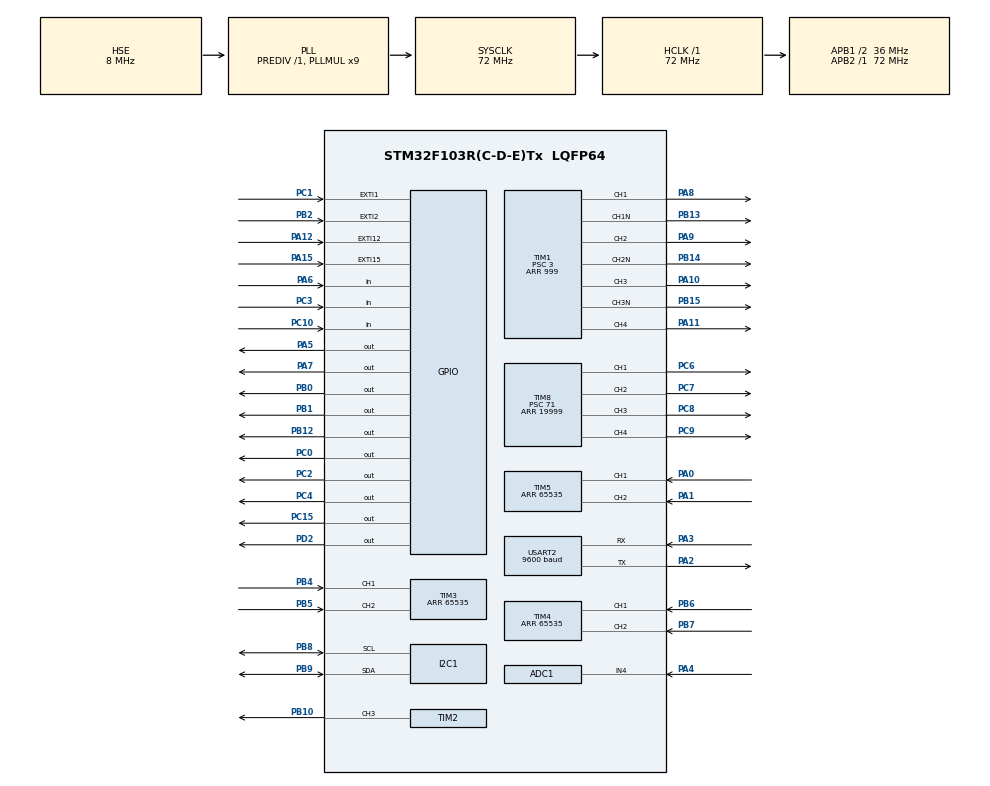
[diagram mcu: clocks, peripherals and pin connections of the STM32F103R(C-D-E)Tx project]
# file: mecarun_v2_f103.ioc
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ADC1.Channel-0\#ChannelRegularConversion=ADC_CHANNEL_4
ADC1.ContinuousConvMode=DISABLE
ADC1.DataAlign=ADC_DATAALIGN_RIGHT
ADC1.DiscontinuousConvMode=DISABLE
ADC1.EnableAnalogWatchDog=false
ADC1.EnableRegularConversion=ENABLE
ADC1.ExternalTrigConv=ADC_SOFTWARE_START
ADC1.InjNumberOfConversion=0
ADC1.NbrOfConversion=1
ADC1.NbrOfConversionFlag=1
ADC1.Rank-0\#ChannelRegularConversion=1
ADC1.SamplingTime-0\#ChannelRegularConversion=ADC_SAMPLETIME_1CYCLE_5
ADC1.ScanConvMode=ADC_SCAN_DISABLE
ADC1.master=1
Dma.Request0=USART2_RX
Dma.Request1=USART2_TX
Dma.USART2_RX.0.Direction=DMA_PERIPH_TO_MEMORY
Dma.USART2_RX.0.Instance=DMA1_Channel6
Dma.USART2_RX.0.MemDataAlignment=DMA_MDATAALIGN_BYTE
Dma.USART2_RX.0.MemInc=DMA_MINC_ENABLE
Dma.USART2_RX.0.Mode=DMA_NORMAL
Dma.USART2_RX.0.PeriphDataAlignment=DMA_PDATAALIGN_BYTE
Dma.USART2_RX.0.PeriphInc=DMA_PINC_DISABLE
Dma.USART2_RX.0.Priority=DMA_PRIORITY_LOW
Dma.USART2_TX.1.Direction=DMA_MEMORY_TO_PERIPH
Dma.USART2_TX.1.Instance=DMA1_Channel7
Dma.USART2_TX.1.MemDataAlignment=DMA_MDATAALIGN_BYTE
Dma.USART2_TX.1.MemInc=DMA_MINC_ENABLE
Dma.USART2_TX.1.Mode=DMA_NORMAL
Dma.USART2_TX.1.PeriphDataAlignment=DMA_PDATAALIGN_BYTE
Dma.USART2_TX.1.PeriphInc=DMA_PINC_DISABLE
Dma.USART2_TX.1.Priority=DMA_PRIORITY_LOW
I2C1.I2C_Mode=I2C_Fast
IWDG.Prescaler=IWDG_PRESCALER_256
Mcu.Family=STM32F1
Mcu.Name=STM32F103R(C-D-E)Tx
Mcu.Package=LQFP64
NVIC.ADC1_2_IRQn=true\:6\:0\:true\:false\:true\:true\:true
NVIC.DMA1_Channel6_IRQn=true\:0\:0\:false\:false\:true\:false\:true
NVIC.DMA1_Channel7_IRQn=true\:0\:0\:false\:false\:true\:false\:true
NVIC.EXTI15_10_IRQn=true\:5\:0\:true\:false\:false\:true\:true
NVIC.EXTI1_IRQn=true\:1\:0\:true\:false\:false\:true\:true
NVIC.EXTI2_IRQn=true\:0\:0\:false\:false\:false\:true\:true
NVIC.I2C1_EV_IRQn=true\:3\:0\:true\:false\:true\:true\:true
NVIC.PriorityGroup=NVIC_PRIORITYGROUP_4
PA0-WKUP.Signal=S_TIM5_CH1
PA1.Signal=S_TIM5_CH2
PA10.GPIO_Speed=GPIO_SPEED_FREQ_HIGH
PA10.Signal=S_TIM1_CH3
PA11.GPIO_Speed=GPIO_SPEED_FREQ_HIGH
PA11.Signal=S_TIM1_CH4
PA12.GPIO_PuPd=GPIO_PULLUP
PA12.Signal=GPXTI12
PA13.Mode=Serial_Wire
PA13.Signal=SYS_JTMS-SWDIO
PA14.Mode=Serial_Wire
PA14.Signal=SYS_JTCK-SWCLK
PA15.GPIO_ModeDefaultEXTI=GPIO_MODE_IT_RISING_FALLING
PA15.Signal=GPXTI15
PA2.Mode=Asynchronous
PA2.Signal=USART2_TX
PA3.GPIO_PuPd=GPIO_PULLUP
PA3.Mode=Asynchronous
PA3.Signal=USART2_RX
PA4.Signal=ADCx_IN4
PA5.GPIO_Speed=GPIO_SPEED_FREQ_HIGH
PA5.PinState=GPIO_PIN_SET
PA5.Signal=GPIO_Output
PA6.Signal=GPIO_Input
PA7.GPIO_Speed=GPIO_SPEED_FREQ_HIGH
PA7.PinState=GPIO_PIN_SET
PA7.Signal=GPIO_Output
PA8.GPIO_Speed=GPIO_SPEED_FREQ_HIGH
PA8.Signal=S_TIM1_CH1
PA9.GPIO_Speed=GPIO_SPEED_FREQ_HIGH
PA9.Signal=S_TIM1_CH2
PB0.Signal=GPIO_Output
PB1.Signal=GPIO_Output
PB10.Signal=S_TIM2_CH3
PB12.PinState=GPIO_PIN_RESET
PB12.Signal=GPIO_Output
PB13.GPIO_Speed=GPIO_SPEED_FREQ_HIGH
PB13.Mode=PWM Generation1 CH1 CH1N
PB13.Signal=TIM1_CH1N
PB14.GPIO_Speed=GPIO_SPEED_FREQ_HIGH
PB14.Mode=PWM Generation2 CH2 CH2N
PB14.Signal=TIM1_CH2N
PB15.GPIO_Speed=GPIO_SPEED_FREQ_HIGH
PB15.Mode=PWM Generation3 CH3 CH3N
PB15.Signal=TIM1_CH3N
PB2.GPIO_ModeDefaultEXTI=GPIO_MODE_IT_RISING_FALLING
PB2.Signal=GPXTI2
PB4.Signal=S_TIM3_CH1
PB5.Signal=S_TIM3_CH2
PB6.Signal=S_TIM4_CH1
PB7.Signal=S_TIM4_CH2
PB8.Mode=I2C
PB8.Signal=I2C1_SCL
PB9.Mode=I2C
PB9.Signal=I2C1_SDA
PC0.Signal=GPIO_Output
PC1.GPIO_ModeDefaultEXTI=GPIO_MODE_IT_RISING_FALLING
PC1.Signal=GPXTI1
PC10.GPIO_PuPd=GPIO_PULLUP
PC10.Signal=GPIO_Input
PC15-OSC32_OUT.GPIO_Speed=GPIO_SPEED_FREQ_HIGH
PC15-OSC32_OUT.Signal=GPIO_Output
PC2.PinState=GPIO_PIN_SET
PC2.Signal=GPIO_Output
PC3.GPIO_PuPd=GPIO_PULLUP
PC3.Signal=GPIO_Input
PC4.GPIO_Speed=GPIO_SPEED_FREQ_HIGH
PC4.Signal=GPIO_Output
PC6.Signal=S_TIM8_CH1
PC7.Signal=S_TIM8_CH2
PC8.Signal=S_TIM8_CH3
PC9.Signal=S_TIM8_CH4
PD0-OSC_IN.Mode=HSE-External-Oscillator
PD0-OSC_IN.Signal=RCC_OSC_IN
PD1-OSC_OUT.Mode=HSE-External-Oscillator
PD1-OSC_OUT.Signal=RCC_OSC_OUT
PD2.Signal=GPIO_Output
ProjectManager.HeapSize=0x200
ProjectManager.StackSize=0x400
ProjectManager.TargetToolchain=MDK-ARM V5
RCC.ADCPresc=RCC_ADCPCLK2_DIV6
RCC.AHBFreq_Value=72000000
RCC.APB1CLKDivider=RCC_HCLK_DIV2
RCC.APB1Freq_Value=36000000
RCC.APB1TimFreq_Value=72000000
RCC.APB2Freq_Value=72000000
RCC.APB2TimFreq_Value=72000000
RCC.HCLKFreq_Value=72000000
RCC.PLLMUL=RCC_PLL_MUL9
RCC.PLLSourceVirtual=RCC_PLLSOURCE_HSE
RCC.SYSCLKFreq_VALUE=72000000
RCC.SYSCLKSource=RCC_SYSCLKSOURCE_PLLCLK
RCC.USBFreq_Value=72000000
SH.ADCx_IN4.0=ADC1_IN4,IN4
SH.S_TIM1_CH1.0=TIM1_CH1,PWM Generation1 CH1 CH1N
SH.S_TIM1_CH2.0=TIM1_CH2,PWM Generation2 CH2 CH2N
SH.S_TIM1_CH3.0=TIM1_CH3,PWM Generation3 CH3 CH3N
SH.S_TIM1_CH4.0=TIM1_CH4,PWM Generation4 CH4
SH.S_TIM2_CH3.0=TIM2_CH3,PWM Generation3 CH3
SH.S_TIM3_CH1.0=TIM3_CH1,Encoder_Interface
SH.S_TIM3_CH2.0=TIM3_CH2,Encoder_Interface
SH.S_TIM4_CH1.0=TIM4_CH1,Encoder_Interface
SH.S_TIM4_CH2.0=TIM4_CH2,Encoder_Interface
SH.S_TIM5_CH1.0=TIM5_CH1,Encoder_Interface
SH.S_TIM5_CH2.0=TIM5_CH2,Encoder_Interface
SH.S_TIM8_CH1.0=TIM8_CH1,PWM Generation1 CH1
SH.S_TIM8_CH2.0=TIM8_CH2,PWM Generation2 CH2
SH.S_TIM8_CH3.0=TIM8_CH3,PWM Generation3 CH3
SH.S_TIM8_CH4.0=TIM8_CH4,PWM Generation4 CH4
TIM1.AutoReloadPreload=TIM_AUTORELOAD_PRELOAD_ENABLE
TIM1.Channel-PWM\ Generation1\ CH1\ CH1N=TIM_CHANNEL_1
TIM1.Channel-PWM\ Generation2\ CH2\ CH2N=TIM_CHANNEL_2
TIM1.Channel-PWM\ Generation3\ CH3\ CH3N=TIM_CHANNEL_3
TIM1.Channel-PWM\ Generation4\ CH4=TIM_CHANNEL_4
TIM1.ClockDivision=TIM_CLOCKDIVISION_DIV1
TIM1.OCIdleState_1=TIM_OCIDLESTATE_SET
TIM1.OCIdleState_2=TIM_OCIDLESTATE_SET
TIM1.OCIdleState_3=TIM_OCIDLESTATE_SET
TIM1.OCIdleState_4=TIM_OCIDLESTATE_SET
TIM1.OCNIdleState_1=TIM_OCNIDLESTATE_SET
TIM1.OCNIdleState_2=TIM_OCNIDLESTATE_SET
TIM1.OCNIdleState_3=TIM_OCNIDLESTATE_SET
TIM1.OCNPolarity_1=TIM_OCNPOLARITY_LOW
TIM1.OCNPolarity_2=TIM_OCNPOLARITY_LOW
TIM1.OCNPolarity_3=TIM_OCNPOLARITY_LOW
TIM1.OCPolarity_1=TIM_OCPOLARITY_HIGH
TIM1.OCPolarity_3=TIM_OCPOLARITY_HIGH
TIM1.Period=999
TIM1.Prescaler=3
TIM2.AutoReloadPreload=TIM_AUTORELOAD_PRELOAD_ENABLE
TIM2.Channel-PWM\ Generation3\ CH3=TIM_CHANNEL_3
TIM2.ClockDivision=TIM_CLOCKDIVISION_DIV1
TIM2.Period=19999
TIM2.Prescaler=71
TIM2.Pulse-PWM\ Generation3\ CH3=1500
TIM3.EncoderMode=TIM_ENCODERMODE_TI12
TIM3.Period=65535
TIM4.EncoderMode=TIM_ENCODERMODE_TI12
TIM4.Period=65535
TIM5.EncoderMode=TIM_ENCODERMODE_TI12
TIM5.Period=65535
TIM6.Period=65535
TIM6.Prescaler=71
TIM8.AutoReloadPreload=TIM_AUTORELOAD_PRELOAD_ENABLE
TIM8.Channel-PWM\ Generation1\ CH1=TIM_CHANNEL_1
TIM8.Channel-PWM\ Generation2\ CH2=TIM_CHANNEL_2
TIM8.Channel-PWM\ Generation3\ CH3=TIM_CHANNEL_3
TIM8.Channel-PWM\ Generation4\ CH4=TIM_CHANNEL_4
TIM8.ClockDivision=TIM_CLOCKDIVISION_DIV1
TIM8.Period=19999
TIM8.Prescaler=71
TIM8.Pulse-PWM\ Generation1\ CH1=1500
TIM8.Pulse-PWM\ Generation2\ CH2=1500
TIM8.Pulse-PWM\ Generation3\ CH3=1500
TIM8.Pulse-PWM\ Generation4\ CH4=1500
USART2.BaudRate=9600
USART2.VirtualMode=VM_ASYNC
VP_IWDG_VS_IWDG.Mode=IWDG_Activate
VP_TIM1_VS_ClockSourceINT.Mode=Internal
VP_TIM2_VS_ClockSourceINT.Mode=Internal
VP_TIM6_VS_ClockSourceINT.Mode=Enable_Timer
VP_TIM8_VS_ClockSourceINT.Mode=Internal
board=custom

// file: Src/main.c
/* USER CODE BEGIN Header */
/**
  ******************************************************************************
  * @file           : main.c
  * @brief          : Main program body
  ******************************************************************************
  ** This notice applies to any and all portions of this file
  * that are not between comment pairs USER CODE BEGIN and
  * USER CODE END. Other portions of this file, whether
  * inserted by the user or by software development tools
  * are owned by their respective copyright owners.
  *
  * COPYRIGHT(c) 2019 STMicroelectronics
  *
  * Redistribution and use in source and binary forms, with or without modification,
  * are permitted provided that the following conditions are met:
  *   1. Redistributions of source code must retain the above copyright notice,
  *      this list of conditions and the following disclaimer.
  *   2. Redistributions in binary form must reproduce the above copyright notice,
  *      this list of conditions and the following disclaimer in the documentation
  *      and/or other materials provided with the distribution.
  *   3. Neither the name of STMicroelectronics nor the names of its contributors
  *      may be used to endorse or promote products derived from this software
  *      without specific prior written permission.
  *
  * THIS SOFTWARE IS PROVIDED BY THE COPYRIGHT HOLDERS AND CONTRIBUTORS "AS IS"
  * AND ANY EXPRESS OR IMPLIED WARRANTIES, INCLUDING, BUT NOT LIMITED TO, THE
  * IMPLIED WARRANTIES OF MERCHANTABILITY AND FITNESS FOR A PARTICULAR PURPOSE ARE
  * DISCLAIMED. IN NO EVENT SHALL THE COPYRIGHT HOLDER OR CONTRIBUTORS BE LIABLE
  * FOR ANY DIRECT, INDIRECT, INCIDENTAL, SPECIAL, EXEMPLARY, OR CONSEQUENTIAL
  * DAMAGES (INCLUDING, BUT NOT LIMITED TO, PROCUREMENT OF SUBSTITUTE GOODS OR
  * SERVICES; LOSS OF USE, DATA, OR PROFITS; OR BUSINESS INTERRUPTION) HOWEVER
  * CAUSED AND ON ANY THEORY OF LIABILITY, WHETHER IN CONTRACT, STRICT LIABILITY,
  * OR TORT (INCLUDING NEGLIGENCE OR OTHERWISE) ARISING IN ANY WAY OUT OF THE USE
  * OF THIS SOFTWARE, EVEN IF ADVISED OF THE POSSIBILITY OF SUCH DAMAGE.
  *
  ******************************************************************************
  */
/* USER CODE END Header */

#include "main.h"

/* USER CODE BEGIN Includes */
#include "led.h"
#include "motor.h"
#include "ps2.h"
#include "mecanum.h"
#include "ultrasonic.h"
#include "oled.h"
#include "bluetooth.h"
#include "battery.h"
#include "servo.h"
#include "mpu9250.h"
#include "config.h"
/* USER CODE END Includes */

ADC_HandleTypeDef hadc1;

I2C_HandleTypeDef hi2c1;

IWDG_HandleTypeDef hiwdg;

TIM_HandleTypeDef htim2;
TIM_HandleTypeDef htim3;
TIM_HandleTypeDef htim4;
TIM_HandleTypeDef htim5;
TIM_HandleTypeDef htim6;
TIM_HandleTypeDef htim8;

UART_HandleTypeDef huart2;
DMA_HandleTypeDef hdma_usart2_rx;
DMA_HandleTypeDef hdma_usart2_tx;

/* USER CODE BEGIN PV */
/* Private variables ---------------------------------------------------------*/
/*use global variables for easier online debug*/
mt_ctrltype common_mt_ctrl = {0,0,0,2};
pidtype motors[4]={{0,0,0,0,0},{0,0,0,0,0},{0,0,0,0,0},{0,0,0,0,0}};
speed3axistype speed_xyr={0,0,0,0};
imutype imudat;
uint32_t dist;
uint8_t oled_en = 1;
uint16_t bat_vol;
//uint8_t debugpid = 0;
typedef enum{
	ps2_mode,
	bt_mode,
	test_mode
}ctrlmodetype;
ctrlmodetype ctrlmode = ps2_mode;
/* USER CODE END PV */

void SystemClock_Config(void);
static void MX_GPIO_Init(void);
static void MX_DMA_Init(void);
static void MX_TIM5_Init(void);
static void MX_ADC1_Init(void);
static void MX_TIM1_Init(void);
static void MX_I2C1_Init(void);
static void MX_TIM4_Init(void);
static void MX_TIM3_Init(void);
static void MX_TIM6_Init(void);
static void MX_TIM2_Init(void);
static void MX_TIM8_Init(void);
static void MX_USART2_UART_Init(void);
static void MX_IWDG_Init(void);
/* USER CODE BEGIN PFP */
/* Private function prototypes -----------------------------------------------*/
ctrlmodetype Check_mode(void);
/* USER CODE END PFP */

/* USER CODE BEGIN 0 */

static void uDelay(uint32_t t)
{
	uint32_t i;
	for(i=0;i<t;++i)
		__nop();
}

/*
3 4 10
--- *  test
* * *  ps2
* ---  bt
*/
ctrlmodetype Check_mode(void)
{
	if(GPIO_PIN_RESET == HAL_GPIO_ReadPin(GPIOC,GPIO_PIN_3))
	{
		HAL_GPIO_WritePin(GPIOC,GPIO_PIN_4,GPIO_PIN_SET);
		uDelay(10);
		if(GPIO_PIN_SET == HAL_GPIO_ReadPin(GPIOC,GPIO_PIN_3))
		{
			return test_mode;
		}
	}
	else if(GPIO_PIN_RESET == HAL_GPIO_ReadPin(GPIOC,GPIO_PIN_10))
	{
		HAL_GPIO_WritePin(GPIOC,GPIO_PIN_4,GPIO_PIN_SET);
		uDelay(10);
		if(GPIO_PIN_SET == HAL_GPIO_ReadPin(GPIOC,GPIO_PIN_10))
		{
			return bt_mode;
		}
	}
		return ps2_mode;
}

/* USER CODE END 0 */

int main(void)
{
  /* USER CODE BEGIN 1 */
	/*for display*/
	uint8_t distbuf[]={'D','i','s','t',':','0','0','0','0','0','m','m',0};
	uint8_t volbuf[]={'0','0','.','0','0','V',0};
	/*for test mode*/
	uint32_t test_time = 0;
	uint8_t test_cnt = 0;
	/*to lowwer the oled flash frequency*/
	#define SONAR_PERIOD 71
	#define VOL_PERIOD 101
	uint32_t time_sonar = 35;
	uint32_t time_vol = 45;
  /* USER CODE END 1 */

  /* MCU Configuration--------------------------------------------------------*/

  /* Reset of all peripherals, Initializes the Flash interface and the Systick. */
  HAL_Init();

  /* Configure the system clock */
  SystemClock_Config();

  /* Initialize all configured peripherals */
  MX_GPIO_Init();
  MX_DMA_Init();
  MX_TIM5_Init();
  MX_ADC1_Init();
  MX_TIM1_Init();
  MX_I2C1_Init();
  MX_TIM4_Init();
  MX_TIM3_Init();
  MX_TIM6_Init();
  MX_TIM2_Init();
  MX_TIM8_Init();
  MX_USART2_UART_Init();
  MX_IWDG_Init();
  /* USER CODE BEGIN 2 */

	Set_blink(2,100);//ms
	user_Motor_Init();
	Motor_unlock(&common_mt_ctrl);

	#if PID_EN == 1
	Motor_PID_Enable(&common_mt_ctrl,motors,1.04500008, 0.0900062919, 0);
	#endif

	start_US_daemon();
	user_Servo_Init();

	ctrlmode = Check_mode();

	InitMPU6050();

	if(0 != OLED_Init())
		oled_en = 0;
	if(oled_en != 0)
	{
		OLED_Clear();
		OLED_ShowString(0,0,(uint8_t *)"Welcome!",8);
		switch(ctrlmode)
		{
			case ps2_mode:
				OLED_ShowString(0,6,(uint8_t *)"PS2",8);
			break;
			case bt_mode:
				OLED_ShowString(0,6,(uint8_t *)"BT",8);
			break;
			case test_mode:
				OLED_ShowString(0,6,(uint8_t *)"TEST",8);
			break;
		}
	}

  /* USER CODE END 2 */

  /* Infinite loop */
  while (1)
  {

    /* USER CODE BEGIN 3 */
		Led_task();
		//if(debugpid==0)
		{
				switch(ctrlmode)
			{
				case ps2_mode:
					Ps2_task(&common_mt_ctrl,motors,&speed_xyr);
				break;
				case bt_mode:
					BT_task(&common_mt_ctrl,motors,&speed_xyr);
				break;
				case test_mode:
					if(HAL_GetTick()>test_time)
					{
						//Read_MPU9250_acc(&imudat);
						//Read_MPU9250_gyro(&imudat);
						//Read_MPU9250_mag(&imudat);
						switch(test_cnt)
						{
							case 0:
								speed_xyr.x = 700;
								speed_xyr.y = 0;
								break;
							case 1:
								speed_xyr.x = 0;
								speed_xyr.y = 700;
								break;
							case 2:
								speed_xyr.x = -700;
								speed_xyr.y = 0;
								break;
							case 3:
								speed_xyr.x = 0;
								speed_xyr.y = -700;
								break;
						}
						speed_xyr.cal_speed = 1;
						++test_cnt;
						test_cnt&=0x03;
						test_time=HAL_GetTick()+1000;
					}
				break;
			}
		}
		Msr_dist_task();
		dist = Get_dist();
		if(speed_xyr.cal_speed != 0)
		{

			//if(dist <= 50)
			//	speed_xyr[1]=0;//y
			cal_mecanum(&speed_xyr,&common_mt_ctrl,motors);
			speed_xyr.cal_speed = 0;
		}

		if(oled_en != 0 && HAL_GetTick() >= time_sonar)
		{
			distbuf[5]=dist/10000|0x30;
			distbuf[6]=dist%10000/1000|0x30;
			distbuf[7]=dist%1000/100|0x30;
			distbuf[8]=dist%100/10|0x30;
			distbuf[9]=dist%10|0x30;
			OLED_ShowString(0,2,distbuf,12);
			time_sonar = HAL_GetTick() + SONAR_PERIOD;
		}

		Get_cnt(motors);
		Motor_task(&common_mt_ctrl,motors);

		#if BAT_CHECK == 1
		if(Check_volt(&bat_vol) != 0)
		{
			Motor_lock(&common_mt_ctrl);
			if(oled_en != 0)
			{
				OLED_ShowString(0,5,(uint8_t *)"Low Battery!",8);
			}
			Set_blink(10000,60);//ms
			while(1)
			{
				Led_task();
				#if IWDG_EN == 1
				HAL_IWDG_Refresh(&hiwdg);
				#endif
			}
		}
		#endif

		if(oled_en != 0 && HAL_GetTick() >= time_vol)
			{
				bat_vol=bat_vol*4*330/4095;
				volbuf[0]=bat_vol%10000/1000|0x30;
				volbuf[1]=bat_vol%1000/100|0x30;
				volbuf[3]=bat_vol%100/10|0x30;
				volbuf[4]=bat_vol%10|0x30;
				OLED_ShowString(0,4,volbuf,8);
				time_vol = HAL_GetTick() + VOL_PERIOD;
			}
		#if IWDG_EN == 1
		HAL_IWDG_Refresh(&hiwdg);
		#endif
		//HAL_GPIO_TogglePin(GPIOC,GPIO_PIN_15);//timing debug
  }
  /* USER CODE END 3 */
}

void SystemClock_Config(void)
{
  RCC_OscInitTypeDef RCC_OscInitStruct = {0};
  RCC_ClkInitTypeDef RCC_ClkInitStruct = {0};
  RCC_PeriphCLKInitTypeDef PeriphClkInit = {0};

  /** Initializes the CPU, AHB and APB busses clocks
  */
  RCC_OscInitStruct.OscillatorType = RCC_OSCILLATORTYPE_LSI|RCC_OSCILLATORTYPE_HSE;
  RCC_OscInitStruct.HSEState = RCC_HSE_ON;
  RCC_OscInitStruct.HSEPredivValue = RCC_HSE_PREDIV_DIV1;
  RCC_OscInitStruct.HSIState = RCC_HSI_ON;
  RCC_OscInitStruct.LSIState = RCC_LSI_ON;
  RCC_OscInitStruct.PLL.PLLState = RCC_PLL_ON;
  RCC_OscInitStruct.PLL.PLLSource = RCC_PLLSOURCE_HSE;
  RCC_OscInitStruct.PLL.PLLMUL = RCC_PLL_MUL9;
  if (HAL_RCC_OscConfig(&RCC_OscInitStruct) != HAL_OK)
  {
    Error_Handler();
  }
  /** Initializes the CPU, AHB and APB busses clocks
  */
  RCC_ClkInitStruct.ClockType = RCC_CLOCKTYPE_HCLK|RCC_CLOCKTYPE_SYSCLK
                              |RCC_CLOCKTYPE_PCLK1|RCC_CLOCKTYPE_PCLK2;
  RCC_ClkInitStruct.SYSCLKSource = RCC_SYSCLKSOURCE_PLLCLK;
  RCC_ClkInitStruct.AHBCLKDivider = RCC_SYSCLK_DIV1;
  RCC_ClkInitStruct.APB1CLKDivider = RCC_HCLK_DIV2;
  RCC_ClkInitStruct.APB2CLKDivider = RCC_HCLK_DIV1;

  if (HAL_RCC_ClockConfig(&RCC_ClkInitStruct, FLASH_LATENCY_2) != HAL_OK)
  {
    Error_Handler();
  }
  PeriphClkInit.PeriphClockSelection = RCC_PERIPHCLK_ADC;
  PeriphClkInit.AdcClockSelection = RCC_ADCPCLK2_DIV6;
  if (HAL_RCCEx_PeriphCLKConfig(&PeriphClkInit) != HAL_OK)
  {
    Error_Handler();
  }
}

static void MX_ADC1_Init(void)
{

  ADC_ChannelConfTypeDef sConfig = {0};

  /** Common config
  */
  hadc1.Instance = ADC1;
  hadc1.Init.ScanConvMode = ADC_SCAN_DISABLE;
  hadc1.Init.ContinuousConvMode = DISABLE;
  hadc1.Init.DiscontinuousConvMode = DISABLE;
  hadc1.Init.ExternalTrigConv = ADC_SOFTWARE_START;
  hadc1.Init.DataAlign = ADC_DATAALIGN_RIGHT;
  hadc1.Init.NbrOfConversion = 1;
  if (HAL_ADC_Init(&hadc1) != HAL_OK)
  {
    Error_Handler();
  }
  /** Configure Regular Channel
  */
  sConfig.Channel = ADC_CHANNEL_4;
  sConfig.Rank = ADC_REGULAR_RANK_1;
  sConfig.SamplingTime = ADC_SAMPLETIME_1CYCLE_5;
  if (HAL_ADC_ConfigChannel(&hadc1, &sConfig) != HAL_OK)
  {
    Error_Handler();
  }

}

static void MX_I2C1_Init(void)
{

  hi2c1.Instance = I2C1;
  hi2c1.Init.ClockSpeed = 400000;
  hi2c1.Init.DutyCycle = I2C_DUTYCYCLE_2;
  hi2c1.Init.OwnAddress1 = 0;
  hi2c1.Init.AddressingMode = I2C_ADDRESSINGMODE_7BIT;
  hi2c1.Init.DualAddressMode = I2C_DUALADDRESS_DISABLE;
  hi2c1.Init.OwnAddress2 = 0;
  hi2c1.Init.GeneralCallMode = I2C_GENERALCALL_DISABLE;
  hi2c1.Init.NoStretchMode = I2C_NOSTRETCH_DISABLE;
  if (HAL_I2C_Init(&hi2c1) != HAL_OK)
  {
    Error_Handler();
  }

}

static void MX_IWDG_Init(void)
{

  /* USER CODE BEGIN IWDG_Init 1 */
	#if IWDG_EN == 1
  /* USER CODE END IWDG_Init 1 */
  hiwdg.Instance = IWDG;
  hiwdg.Init.Prescaler = IWDG_PRESCALER_256;
  hiwdg.Init.Reload = 4095;
  if (HAL_IWDG_Init(&hiwdg) != HAL_OK)
  {
    Error_Handler();
  }
  /* USER CODE BEGIN IWDG_Init 2 */
	#endif
  /* USER CODE END IWDG_Init 2 */

}

static void MX_TIM1_Init(void)
{

  LL_TIM_InitTypeDef TIM_InitStruct = {0};
  LL_TIM_OC_InitTypeDef TIM_OC_InitStruct = {0};
  LL_TIM_BDTR_InitTypeDef TIM_BDTRInitStruct = {0};

  LL_GPIO_InitTypeDef GPIO_InitStruct = {0};

  /* Peripheral clock enable */
  LL_APB2_GRP1_EnableClock(LL_APB2_GRP1_PERIPH_TIM1);

  TIM_InitStruct.Prescaler = 3;
  TIM_InitStruct.CounterMode = LL_TIM_COUNTERMODE_UP;
  TIM_InitStruct.Autoreload = 999;
  TIM_InitStruct.ClockDivision = LL_TIM_CLOCKDIVISION_DIV1;
  TIM_InitStruct.RepetitionCounter = 0;
  LL_TIM_Init(TIM1, &TIM_InitStruct);
  LL_TIM_EnableARRPreload(TIM1);
  LL_TIM_SetClockSource(TIM1, LL_TIM_CLOCKSOURCE_INTERNAL);
  LL_TIM_OC_EnablePreload(TIM1, LL_TIM_CHANNEL_CH1);
  TIM_OC_InitStruct.OCMode = LL_TIM_OCMODE_PWM1;
  TIM_OC_InitStruct.OCState = LL_TIM_OCSTATE_DISABLE;
  TIM_OC_InitStruct.OCNState = LL_TIM_OCSTATE_DISABLE;
  TIM_OC_InitStruct.CompareValue = 0;
  TIM_OC_InitStruct.OCPolarity = LL_TIM_OCPOLARITY_HIGH;
  TIM_OC_InitStruct.OCNPolarity = LL_TIM_OCPOLARITY_LOW;
  TIM_OC_InitStruct.OCIdleState = LL_TIM_OCIDLESTATE_HIGH;
  TIM_OC_InitStruct.OCNIdleState = LL_TIM_OCIDLESTATE_HIGH;
  LL_TIM_OC_Init(TIM1, LL_TIM_CHANNEL_CH1, &TIM_OC_InitStruct);
  LL_TIM_OC_DisableFast(TIM1, LL_TIM_CHANNEL_CH1);
  LL_TIM_OC_EnablePreload(TIM1, LL_TIM_CHANNEL_CH2);
  TIM_OC_InitStruct.OCState = LL_TIM_OCSTATE_DISABLE;
  TIM_OC_InitStruct.OCNState = LL_TIM_OCSTATE_DISABLE;
  LL_TIM_OC_Init(TIM1, LL_TIM_CHANNEL_CH2, &TIM_OC_InitStruct);
  LL_TIM_OC_DisableFast(TIM1, LL_TIM_CHANNEL_CH2);
  LL_TIM_OC_EnablePreload(TIM1, LL_TIM_CHANNEL_CH3);
  TIM_OC_InitStruct.OCState = LL_TIM_OCSTATE_DISABLE;
  TIM_OC_InitStruct.OCNState = LL_TIM_OCSTATE_DISABLE;
  LL_TIM_OC_Init(TIM1, LL_TIM_CHANNEL_CH3, &TIM_OC_InitStruct);
  LL_TIM_OC_DisableFast(TIM1, LL_TIM_CHANNEL_CH3);
  LL_TIM_OC_EnablePreload(TIM1, LL_TIM_CHANNEL_CH4);
  TIM_OC_InitStruct.OCState = LL_TIM_OCSTATE_DISABLE;
  TIM_OC_InitStruct.OCNState = LL_TIM_OCSTATE_DISABLE;
  TIM_OC_InitStruct.OCNIdleState = LL_TIM_OCIDLESTATE_LOW;
  LL_TIM_OC_Init(TIM1, LL_TIM_CHANNEL_CH4, &TIM_OC_InitStruct);
  LL_TIM_OC_DisableFast(TIM1, LL_TIM_CHANNEL_CH4);
  LL_TIM_SetTriggerOutput(TIM1, LL_TIM_TRGO_RESET);
  LL_TIM_DisableMasterSlaveMode(TIM1);
  TIM_BDTRInitStruct.OSSRState = LL_TIM_OSSR_DISABLE;
  TIM_BDTRInitStruct.OSSIState = LL_TIM_OSSI_DISABLE;
  TIM_BDTRInitStruct.LockLevel = LL_TIM_LOCKLEVEL_OFF;
  TIM_BDTRInitStruct.DeadTime = 0;
  TIM_BDTRInitStruct.BreakState = LL_TIM_BREAK_DISABLE;
  TIM_BDTRInitStruct.BreakPolarity = LL_TIM_BREAK_POLARITY_HIGH;
  TIM_BDTRInitStruct.AutomaticOutput = LL_TIM_AUTOMATICOUTPUT_DISABLE;
  LL_TIM_BDTR_Init(TIM1, &TIM_BDTRInitStruct);
  LL_APB2_GRP1_EnableClock(LL_APB2_GRP1_PERIPH_GPIOB);
  LL_APB2_GRP1_EnableClock(LL_APB2_GRP1_PERIPH_GPIOA);
  /**TIM1 GPIO Configuration
  PB13   ------> TIM1_CH1N
  PB14   ------> TIM1_CH2N
  PB15   ------> TIM1_CH3N
  PA8   ------> TIM1_CH1
  PA9   ------> TIM1_CH2
  PA10   ------> TIM1_CH3
  PA11   ------> TIM1_CH4
  */
  GPIO_InitStruct.Pin = LL_GPIO_PIN_13|LL_GPIO_PIN_14|LL_GPIO_PIN_15;
  GPIO_InitStruct.Mode = LL_GPIO_MODE_ALTERNATE;
  GPIO_InitStruct.Speed = LL_GPIO_SPEED_FREQ_HIGH;
  GPIO_InitStruct.OutputType = LL_GPIO_OUTPUT_PUSHPULL;
  LL_GPIO_Init(GPIOB, &GPIO_InitStruct);

  GPIO_InitStruct.Pin = LL_GPIO_PIN_8|LL_GPIO_PIN_9|LL_GPIO_PIN_10|LL_GPIO_PIN_11;
  GPIO_InitStruct.Mode = LL_GPIO_MODE_ALTERNATE;
  GPIO_InitStruct.Speed = LL_GPIO_SPEED_FREQ_HIGH;
  GPIO_InitStruct.OutputType = LL_GPIO_OUTPUT_PUSHPULL;
  LL_GPIO_Init(GPIOA, &GPIO_InitStruct);

}

static void MX_TIM2_Init(void)
{

  TIM_ClockConfigTypeDef sClockSourceConfig = {0};
  TIM_MasterConfigTypeDef sMasterConfig = {0};
  TIM_OC_InitTypeDef sConfigOC = {0};

  htim2.Instance = TIM2;
  htim2.Init.Prescaler = 71;
  htim2.Init.CounterMode = TIM_COUNTERMODE_UP;
  htim2.Init.Period = 19999;
  htim2.Init.ClockDivision = TIM_CLOCKDIVISION_DIV1;
  htim2.Init.AutoReloadPreload = TIM_AUTORELOAD_PRELOAD_ENABLE;
  if (HAL_TIM_Base_Init(&htim2) != HAL_OK)
  {
    Error_Handler();
  }
  sClockSourceConfig.ClockSource = TIM_CLOCKSOURCE_INTERNAL;
  if (HAL_TIM_ConfigClockSource(&htim2, &sClockSourceConfig) != HAL_OK)
  {
    Error_Handler();
  }
  if (HAL_TIM_PWM_Init(&htim2) != HAL_OK)
  {
    Error_Handler();
  }
  sMasterConfig.MasterOutputTrigger = TIM_TRGO_RESET;
  sMasterConfig.MasterSlaveMode = TIM_MASTERSLAVEMODE_DISABLE;
  if (HAL_TIMEx_MasterConfigSynchronization(&htim2, &sMasterConfig) != HAL_OK)
  {
    Error_Handler();
  }
  sConfigOC.OCMode = TIM_OCMODE_PWM1;
  sConfigOC.Pulse = 1500;
  sConfigOC.OCPolarity = TIM_OCPOLARITY_HIGH;
  sConfigOC.OCFastMode = TIM_OCFAST_DISABLE;
  if (HAL_TIM_PWM_ConfigChannel(&htim2, &sConfigOC, TIM_CHANNEL_3) != HAL_OK)
  {
    Error_Handler();
  }
  HAL_TIM_MspPostInit(&htim2);

}

static void MX_TIM3_Init(void)
{

  TIM_Encoder_InitTypeDef sConfig = {0};
  TIM_MasterConfigTypeDef sMasterConfig = {0};

  htim3.Instance = TIM3;
  htim3.Init.Prescaler = 0;
  htim3.Init.CounterMode = TIM_COUNTERMODE_UP;
  htim3.Init.Period = 65535;
  htim3.Init.ClockDivision = TIM_CLOCKDIVISION_DIV1;
  htim3.Init.AutoReloadPreload = TIM_AUTORELOAD_PRELOAD_DISABLE;
  sConfig.EncoderMode = TIM_ENCODERMODE_TI12;
  sConfig.IC1Polarity = TIM_ICPOLARITY_RISING;
  sConfig.IC1Selection = TIM_ICSELECTION_DIRECTTI;
  sConfig.IC1Prescaler = TIM_ICPSC_DIV1;
  sConfig.IC1Filter = 0;
  sConfig.IC2Polarity = TIM_ICPOLARITY_RISING;
  sConfig.IC2Selection = TIM_ICSELECTION_DIRECTTI;
  sConfig.IC2Prescaler = TIM_ICPSC_DIV1;
  sConfig.IC2Filter = 0;
  if (HAL_TIM_Encoder_Init(&htim3, &sConfig) != HAL_OK)
  {
    Error_Handler();
  }
  sMasterConfig.MasterOutputTrigger = TIM_TRGO_RESET;
  sMasterConfig.MasterSlaveMode = TIM_MASTERSLAVEMODE_DISABLE;
  if (HAL_TIMEx_MasterConfigSynchronization(&htim3, &sMasterConfig) != HAL_OK)
  {
    Error_Handler();
  }

}

static void MX_TIM4_Init(void)
{

  TIM_Encoder_InitTypeDef sConfig = {0};
  TIM_MasterConfigTypeDef sMasterConfig = {0};

  htim4.Instance = TIM4;
  htim4.Init.Prescaler = 0;
  htim4.Init.CounterMode = TIM_COUNTERMODE_UP;
  htim4.Init.Period = 65535;
  htim4.Init.ClockDivision = TIM_CLOCKDIVISION_DIV1;
  htim4.Init.AutoReloadPreload = TIM_AUTORELOAD_PRELOAD_DISABLE;
  sConfig.EncoderMode = TIM_ENCODERMODE_TI12;
  sConfig.IC1Polarity = TIM_ICPOLARITY_RISING;
  sConfig.IC1Selection = TIM_ICSELECTION_DIRECTTI;
  sConfig.IC1Prescaler = TIM_ICPSC_DIV1;
  sConfig.IC1Filter = 0;
  sConfig.IC2Polarity = TIM_ICPOLARITY_RISING;
  sConfig.IC2Selection = TIM_ICSELECTION_DIRECTTI;
  sConfig.IC2Prescaler = TIM_ICPSC_DIV1;
  sConfig.IC2Filter = 0;
  if (HAL_TIM_Encoder_Init(&htim4, &sConfig) != HAL_OK)
  {
    Error_Handler();
  }
  sMasterConfig.MasterOutputTrigger = TIM_TRGO_RESET;
  sMasterConfig.MasterSlaveMode = TIM_MASTERSLAVEMODE_DISABLE;
  if (HAL_TIMEx_MasterConfigSynchronization(&htim4, &sMasterConfig) != HAL_OK)
  {
    Error_Handler();
  }

}

static void MX_TIM5_Init(void)
{

  TIM_Encoder_InitTypeDef sConfig = {0};
  TIM_MasterConfigTypeDef sMasterConfig = {0};

  htim5.Instance = TIM5;
  htim5.Init.Prescaler = 0;
  htim5.Init.CounterMode = TIM_COUNTERMODE_UP;
  htim5.Init.Period = 65535;
  htim5.Init.ClockDivision = TIM_CLOCKDIVISION_DIV1;
  htim5.Init.AutoReloadPreload = TIM_AUTORELOAD_PRELOAD_DISABLE;
  sConfig.EncoderMode = TIM_ENCODERMODE_TI12;
  sConfig.IC1Polarity = TIM_ICPOLARITY_RISING;
  sConfig.IC1Selection = TIM_ICSELECTION_DIRECTTI;
  sConfig.IC1Prescaler = TIM_ICPSC_DIV1;
  sConfig.IC1Filter = 0;
  sConfig.IC2Polarity = TIM_ICPOLARITY_RISING;
  sConfig.IC2Selection = TIM_ICSELECTION_DIRECTTI;
  sConfig.IC2Prescaler = TIM_ICPSC_DIV1;
  sConfig.IC2Filter = 0;
  if (HAL_TIM_Encoder_Init(&htim5, &sConfig) != HAL_OK)
  {
    Error_Handler();
  }
  sMasterConfig.MasterOutputTrigger = TIM_TRGO_RESET;
  sMasterConfig.MasterSlaveMode = TIM_MASTERSLAVEMODE_DISABLE;
  if (HAL_TIMEx_MasterConfigSynchronization(&htim5, &sMasterConfig) != HAL_OK)
  {
    Error_Handler();
  }

}

static void MX_TIM6_Init(void)
{

  TIM_MasterConfigTypeDef sMasterConfig = {0};

  htim6.Instance = TIM6;
  htim6.Init.Prescaler = 71;
  htim6.Init.CounterMode = TIM_COUNTERMODE_UP;
  htim6.Init.Period = 65535;
  htim6.Init.AutoReloadPreload = TIM_AUTORELOAD_PRELOAD_DISABLE;
  if (HAL_TIM_Base_Init(&htim6) != HAL_OK)
  {
    Error_Handler();
  }
  sMasterConfig.MasterOutputTrigger = TIM_TRGO_RESET;
  sMasterConfig.MasterSlaveMode = TIM_MASTERSLAVEMODE_DISABLE;
  if (HAL_TIMEx_MasterConfigSynchronization(&htim6, &sMasterConfig) != HAL_OK)
  {
    Error_Handler();
  }

}

static void MX_TIM8_Init(void)
{

  TIM_ClockConfigTypeDef sClockSourceConfig = {0};
  TIM_MasterConfigTypeDef sMasterConfig = {0};
  TIM_OC_InitTypeDef sConfigOC = {0};
  TIM_BreakDeadTimeConfigTypeDef sBreakDeadTimeConfig = {0};

  htim8.Instance = TIM8;
  htim8.Init.Prescaler = 71;
  htim8.Init.CounterMode = TIM_COUNTERMODE_UP;
  htim8.Init.Period = 19999;
  htim8.Init.ClockDivision = TIM_CLOCKDIVISION_DIV1;
  htim8.Init.RepetitionCounter = 0;
  htim8.Init.AutoReloadPreload = TIM_AUTORELOAD_PRELOAD_ENABLE;
  if (HAL_TIM_Base_Init(&htim8) != HAL_OK)
  {
    Error_Handler();
  }
  sClockSourceConfig.ClockSource = TIM_CLOCKSOURCE_INTERNAL;
  if (HAL_TIM_ConfigClockSource(&htim8, &sClockSourceConfig) != HAL_OK)
  {
    Error_Handler();
  }
  if (HAL_TIM_PWM_Init(&htim8) != HAL_OK)
  {
    Error_Handler();
  }
  sMasterConfig.MasterOutputTrigger = TIM_TRGO_RESET;
  sMasterConfig.MasterSlaveMode = TIM_MASTERSLAVEMODE_DISABLE;
  if (HAL_TIMEx_MasterConfigSynchronization(&htim8, &sMasterConfig) != HAL_OK)
  {
    Error_Handler();
  }
  sConfigOC.OCMode = TIM_OCMODE_PWM1;
  sConfigOC.Pulse = 1500;
  sConfigOC.OCPolarity = TIM_OCPOLARITY_HIGH;
  sConfigOC.OCNPolarity = TIM_OCNPOLARITY_HIGH;
  sConfigOC.OCFastMode = TIM_OCFAST_DISABLE;
  sConfigOC.OCIdleState = TIM_OCIDLESTATE_RESET;
  sConfigOC.OCNIdleState = TIM_OCNIDLESTATE_RESET;
  if (HAL_TIM_PWM_ConfigChannel(&htim8, &sConfigOC, TIM_CHANNEL_1) != HAL_OK)
  {
    Error_Handler();
  }
  if (HAL_TIM_PWM_ConfigChannel(&htim8, &sConfigOC, TIM_CHANNEL_2) != HAL_OK)
  {
    Error_Handler();
  }
  if (HAL_TIM_PWM_ConfigChannel(&htim8, &sConfigOC, TIM_CHANNEL_3) != HAL_OK)
  {
    Error_Handler();
  }
  if (HAL_TIM_PWM_ConfigChannel(&htim8, &sConfigOC, TIM_CHANNEL_4) != HAL_OK)
  {
    Error_Handler();
  }
  sBreakDeadTimeConfig.OffStateRunMode = TIM_OSSR_DISABLE;
  sBreakDeadTimeConfig.OffStateIDLEMode = TIM_OSSI_DISABLE;
  sBreakDeadTimeConfig.LockLevel = TIM_LOCKLEVEL_OFF;
  sBreakDeadTimeConfig.DeadTime = 0;
  sBreakDeadTimeConfig.BreakState = TIM_BREAK_DISABLE;
  sBreakDeadTimeConfig.BreakPolarity = TIM_BREAKPOLARITY_HIGH;
  sBreakDeadTimeConfig.AutomaticOutput = TIM_AUTOMATICOUTPUT_DISABLE;
  if (HAL_TIMEx_ConfigBreakDeadTime(&htim8, &sBreakDeadTimeConfig) != HAL_OK)
  {
    Error_Handler();
  }
  HAL_TIM_MspPostInit(&htim8);

}

static void MX_USART2_UART_Init(void)
{

  huart2.Instance = USART2;
  huart2.Init.BaudRate = 9600;
  huart2.Init.WordLength = UART_WORDLENGTH_8B;
  huart2.Init.StopBits = UART_STOPBITS_1;
  huart2.Init.Parity = UART_PARITY_NONE;
  huart2.Init.Mode = UART_MODE_TX_RX;
  huart2.Init.HwFlowCtl = UART_HWCONTROL_NONE;
  huart2.Init.OverSampling = UART_OVERSAMPLING_16;
  if (HAL_UART_Init(&huart2) != HAL_OK)
  {
    Error_Handler();
  }

}

static void MX_DMA_Init(void)
{
  /* DMA controller clock enable */
  __HAL_RCC_DMA1_CLK_ENABLE();

  /* DMA interrupt init */
  /* DMA1_Channel6_IRQn interrupt configuration */
  HAL_NVIC_SetPriority(DMA1_Channel6_IRQn, 0, 0);
  HAL_NVIC_EnableIRQ(DMA1_Channel6_IRQn);
  /* DMA1_Channel7_IRQn interrupt configuration */
  HAL_NVIC_SetPriority(DMA1_Channel7_IRQn, 0, 0);
  HAL_NVIC_EnableIRQ(DMA1_Channel7_IRQn);

}

static void MX_GPIO_Init(void)
{
  GPIO_InitTypeDef GPIO_InitStruct = {0};

  /* GPIO Ports Clock Enable */
  __HAL_RCC_GPIOC_CLK_ENABLE();
  __HAL_RCC_GPIOD_CLK_ENABLE();
  __HAL_RCC_GPIOA_CLK_ENABLE();
  __HAL_RCC_GPIOB_CLK_ENABLE();

  /*Configure GPIO pin Output Level */
  HAL_GPIO_WritePin(GPIOC, GPIO_PIN_15|GPIO_PIN_0|GPIO_PIN_4, GPIO_PIN_RESET);

  /*Configure GPIO pin Output Level */
  HAL_GPIO_WritePin(GPIOC, GPIO_PIN_2, GPIO_PIN_SET);

  /*Configure GPIO pin Output Level */
  HAL_GPIO_WritePin(GPIOA, GPIO_PIN_5|GPIO_PIN_7, GPIO_PIN_SET);

  /*Configure GPIO pin Output Level */
  HAL_GPIO_WritePin(GPIOB, GPIO_PIN_0|GPIO_PIN_1|GPIO_PIN_12, GPIO_PIN_RESET);

  /*Configure GPIO pin Output Level */
  HAL_GPIO_WritePin(GPIOD, GPIO_PIN_2, GPIO_PIN_RESET);

  /*Configure GPIO pins : PC15 PC4 */
  GPIO_InitStruct.Pin = GPIO_PIN_15|GPIO_PIN_4;
  GPIO_InitStruct.Mode = GPIO_MODE_OUTPUT_PP;
  GPIO_InitStruct.Pull = GPIO_NOPULL;
  GPIO_InitStruct.Speed = GPIO_SPEED_FREQ_HIGH;
  HAL_GPIO_Init(GPIOC, &GPIO_InitStruct);

  /*Configure GPIO pins : PC0 PC2 */
  GPIO_InitStruct.Pin = GPIO_PIN_0|GPIO_PIN_2;
  GPIO_InitStruct.Mode = GPIO_MODE_OUTPUT_PP;
  GPIO_InitStruct.Pull = GPIO_NOPULL;
  GPIO_InitStruct.Speed = GPIO_SPEED_FREQ_LOW;
  HAL_GPIO_Init(GPIOC, &GPIO_InitStruct);

  /*Configure GPIO pin : PC1 */
  GPIO_InitStruct.Pin = GPIO_PIN_1;
  GPIO_InitStruct.Mode = GPIO_MODE_IT_RISING_FALLING;
  GPIO_InitStruct.Pull = GPIO_NOPULL;
  HAL_GPIO_Init(GPIOC, &GPIO_InitStruct);

  /*Configure GPIO pins : PC3 PC10 */
  GPIO_InitStruct.Pin = GPIO_PIN_3|GPIO_PIN_10;
  GPIO_InitStruct.Mode = GPIO_MODE_INPUT;
  GPIO_InitStruct.Pull = GPIO_PULLUP;
  HAL_GPIO_Init(GPIOC, &GPIO_InitStruct);

  /*Configure GPIO pins : PA5 PA7 */
  GPIO_InitStruct.Pin = GPIO_PIN_5|GPIO_PIN_7;
  GPIO_InitStruct.Mode = GPIO_MODE_OUTPUT_PP;
  GPIO_InitStruct.Pull = GPIO_NOPULL;
  GPIO_InitStruct.Speed = GPIO_SPEED_FREQ_HIGH;
  HAL_GPIO_Init(GPIOA, &GPIO_InitStruct);

  /*Configure GPIO pin : PA6 */
  GPIO_InitStruct.Pin = GPIO_PIN_6;
  GPIO_InitStruct.Mode = GPIO_MODE_INPUT;
  GPIO_InitStruct.Pull = GPIO_NOPULL;
  HAL_GPIO_Init(GPIOA, &GPIO_InitStruct);

  /*Configure GPIO pins : PB0 PB1 PB12 */
  GPIO_InitStruct.Pin = GPIO_PIN_0|GPIO_PIN_1|GPIO_PIN_12;
  GPIO_InitStruct.Mode = GPIO_MODE_OUTPUT_PP;
  GPIO_InitStruct.Pull = GPIO_NOPULL;
  GPIO_InitStruct.Speed = GPIO_SPEED_FREQ_LOW;
  HAL_GPIO_Init(GPIOB, &GPIO_InitStruct);

  /*Configure GPIO pin : PB2 */
  GPIO_InitStruct.Pin = GPIO_PIN_2;
  GPIO_InitStruct.Mode = GPIO_MODE_IT_RISING_FALLING;
  GPIO_InitStruct.Pull = GPIO_NOPULL;
  HAL_GPIO_Init(GPIOB, &GPIO_InitStruct);

  /*Configure GPIO pin : PA12 */
  GPIO_InitStruct.Pin = GPIO_PIN_12;
  GPIO_InitStruct.Mode = GPIO_MODE_IT_RISING;
  GPIO_InitStruct.Pull = GPIO_PULLUP;
  HAL_GPIO_Init(GPIOA, &GPIO_InitStruct);

  /*Configure GPIO pin : PA15 */
  GPIO_InitStruct.Pin = GPIO_PIN_15;
  GPIO_InitStruct.Mode = GPIO_MODE_IT_RISING_FALLING;
  GPIO_InitStruct.Pull = GPIO_NOPULL;
  HAL_GPIO_Init(GPIOA, &GPIO_InitStruct);

  /*Configure GPIO pin : PD2 */
  GPIO_InitStruct.Pin = GPIO_PIN_2;
  GPIO_InitStruct.Mode = GPIO_MODE_OUTPUT_PP;
  GPIO_InitStruct.Pull = GPIO_NOPULL;
  GPIO_InitStruct.Speed = GPIO_SPEED_FREQ_LOW;
  HAL_GPIO_Init(GPIOD, &GPIO_InitStruct);

  /* EXTI interrupt init*/
  HAL_NVIC_SetPriority(EXTI1_IRQn, 1, 0);
  HAL_NVIC_EnableIRQ(EXTI1_IRQn);

  HAL_NVIC_SetPriority(EXTI2_IRQn, 0, 0);
  HAL_NVIC_EnableIRQ(EXTI2_IRQn);

  HAL_NVIC_SetPriority(EXTI15_10_IRQn, 5, 0);
  HAL_NVIC_EnableIRQ(EXTI15_10_IRQn);

}

void Error_Handler(void)
{
  while(1)
  {
  }
}

/************************ (C) COPYRIGHT STMicroelectronics *****END OF FILE****/
